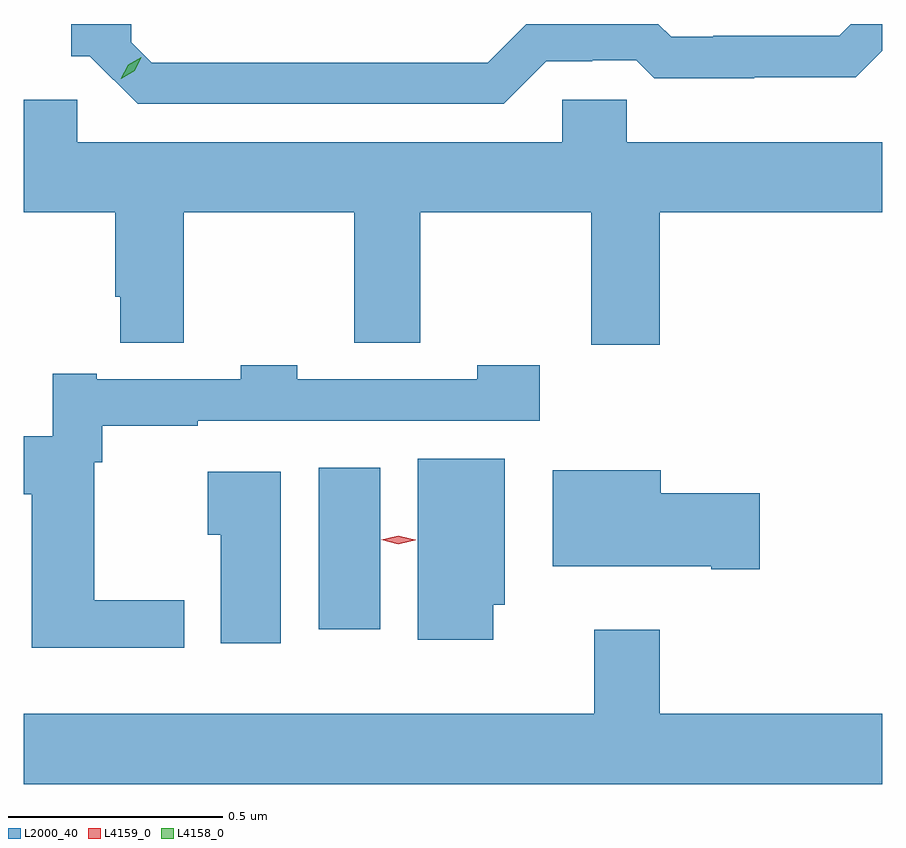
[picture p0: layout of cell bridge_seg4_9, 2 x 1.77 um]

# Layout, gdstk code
import gdstk
lib = gdstk.Library(unit=1e-6, precision=1e-09)
def R(c, l, rs):  # rectangles x0, y0, x1, y1
    for r in rs: c.add(gdstk.rectangle(r[:2], r[2:], *l))
def P(c, l, *ps):  # polygons
    for p in ps: c.add(gdstk.Polygon(p, *l))
L2000_40 = (2000, 40)
L4158_0 = (4158, 0)
L4159_0 = (4159, 0)

bridge_seg4_9 = lib.new_cell('bridge_seg4_9')
R(bridge_seg4_9, L2000_40, [(894.179,798.513,894.322,798.889)])
P(bridge_seg4_9, L2000_40, [(894.709,799.836),(894.816,799.836),(894.816,799.839),(894.919,799.839),(894.961,799.797),(895.194,799.797),(895.194,799.799),(895.43,799.799),(895.492,799.861),(895.492,799.923),(895.419,799.923),(895.392,799.896),(895.099,799.896),(895.099,799.893),(895,799.893),(894.97,799.923),(894.663,799.923),(894.573,799.833),(893.79,799.833),(893.742,799.881),(893.742,799.923),(893.603,799.923),(893.603,799.848),(893.646,799.848),(893.757,799.737),(894.61,799.737)],
  [(894.974,799.484),(895.492,799.484),(895.492,799.648),(894.897,799.648),(894.897,799.746),(894.747,799.746),(894.747,799.648),(893.616,799.648),(893.616,799.746),(893.492,799.746),(893.492,799.484),(893.705,799.484),(893.705,799.288),(893.717,799.288),(893.717,799.18),(893.864,799.18),(893.864,799.484),(894.262,799.484),(894.262,799.18),(894.416,799.18),(894.416,799.484),(894.814,799.484),(894.814,799.176),(894.974,799.176)],
  [(893.866,798.58),(893.656,798.58),(893.656,798.902),(893.675,798.902),(893.675,798.987),(893.897,798.987),(893.897,798.999),(894.694,798.999),(894.694,799.128),(894.549,799.128),(894.549,799.095),(894.129,799.095),(894.129,799.128),(893.997,799.128),(893.997,799.095),(893.662,799.095),(893.662,799.108),(893.559,799.108),(893.559,798.962),(893.492,798.962),(893.492,798.827),(893.51,798.827),(893.51,798.47),(893.866,798.47)],
  [(894.586,798.57),(894.613,798.57),(894.613,798.91),(894.41,798.91),(894.41,798.488),(894.586,798.488)],
  [(895.207,798.83),(894.976,798.83),(894.976,798.883),(894.725,798.883),(894.725,798.659),(895.094,798.659),(895.094,798.652),(895.207,798.652)],
  [(894.091,798.88),(893.921,798.88),(893.921,798.733),(893.951,798.733),(893.951,798.48),(894.091,798.48)],
  [(895.492,798.316),(894.974,798.316),(894.974,798.511),(894.821,798.511),(894.821,798.316),(893.492,798.316),(893.492,798.152),(895.492,798.152)])
P(bridge_seg4_9, L4158_0, [(893.718,799.796),(893.718,799.796),(893.735,799.828),(893.766,799.846),(893.766,799.846),(893.766,799.846),(893.75,799.814),(893.719,799.796)])
P(bridge_seg4_9, L4159_0, [(894.365,798.711),(894.325,798.721),(894.325,798.721),(894.325,798.721),(894.365,798.731),(894.404,798.721),(894.405,798.721),(894.404,798.72)])

lib.write_gds('bridge_seg4_9.gds')
